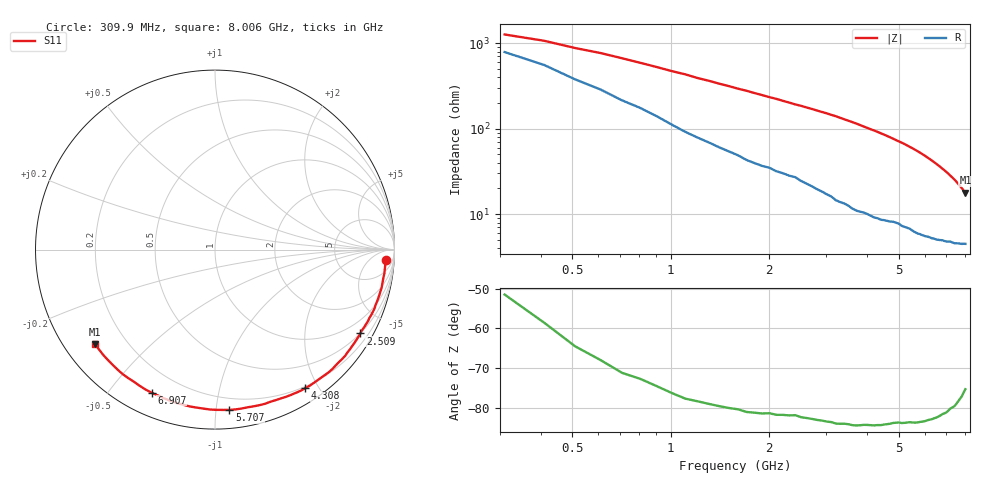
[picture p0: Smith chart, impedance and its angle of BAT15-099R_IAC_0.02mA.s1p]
! Infineon Technologies  Discrete & RF Semiconductors
! BAT15-099R
! IAC = 0.02 mA
! One-Port S-Parameters
# Hz  S  MA  R  50
!f  S11
!Hz  Mag  Ang
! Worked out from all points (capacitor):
!   78 points, 309.9 MHz to 8.006 GHz, reference 50 ohm
!   read as one part to ground: C = 426 fF near 309.9 MHz
!   lowest |Z| = 17.8 ohm at 8.006 GHz (marker M1)
!   S11 on the Smith chart (normalised r, x): 309.9 MHz: 16, -20; 2.509 GHz: 0.49, -3.68; 4.308 GHz: 0.18, -1.83; 5.707 GHz: 0.12, -1.09; 6.907 GHz: 0.10, -0.65; 8.006 GHz: 0.09, -0.34
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3.0985e8  0.952 -3.5
7.0965e8  0.9531 -8.1
1.10945e9  0.9526 -12.9
1.30935e9  0.95 -15.4
1.70915e9  0.9474 -20.2
2.30885e9  0.9368 -27.6
2.4088e9  0.9336 -28.9
2.50875e9  0.9356 -30.0
3.0085e9  0.9348 -36.4
3.2084e9  0.9359 -39.2
3.70815e9  0.932 -46.9
4.2079e9  0.9237 -55.3
4.30785e9  0.921 -57.0
4.70765e9  0.9106 -64.3
5.2074e9  0.9015 -74.0
5.70715e9  0.8967 -84.8
5.90705e9  0.893 -89.4
6.10695e9  0.8883 -94.2
6.30685e9  0.8851 -99.1
6.50675e9  0.881 -104.0
6.8066e9  0.8725 -111.6
6.90655e9  0.8718 -113.9
7.10645e9  0.8671 -119.0
7.4063e9  0.8636 -126.4
7.50625e9  0.8613 -129.0
7.70615e9  0.8568 -134.2
7.90605e9  0.8528 -139.4
8.006e9  0.8511 -141.7
